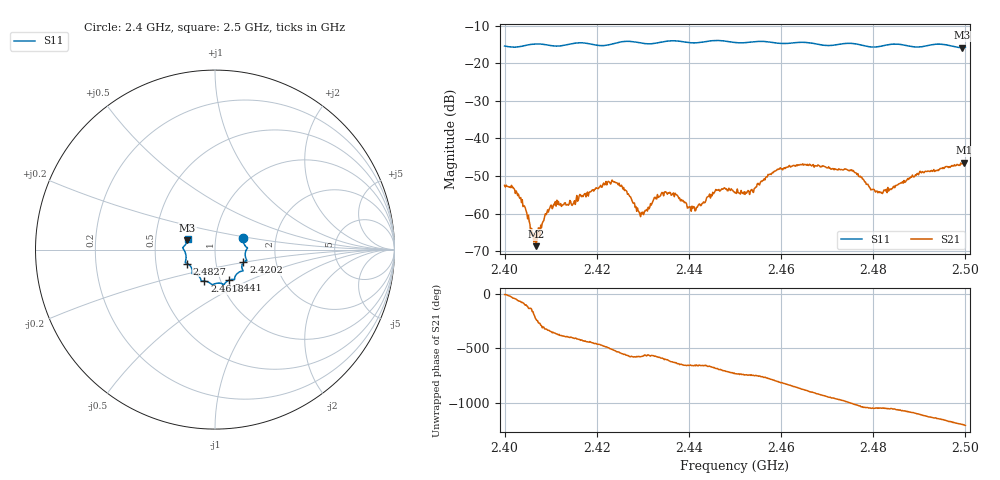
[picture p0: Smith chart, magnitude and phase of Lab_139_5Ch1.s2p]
# Hz S RI R 50
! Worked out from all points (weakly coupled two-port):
!   601 points, 2.4 GHz to 2.5 GHz, reference 50 ohm
!   highest |S21| = -46.44 dB at 2.4997 GHz (marker M1); lowest = -68.7 dB at 2.4068 GHz (marker M2)
!   lowest |S11| = -15.8 dB at 2.4993 GHz (marker M3), VSWR 1.39, Z = 36.5 + j3.84 ohm
!   |S11| at or under -10 dB: start of sweep to end of sweep
!   S12 and S22 are empty: the file has one direction only
!   S11 on the Smith chart (normalised r, x): 2.4 GHz: 1.36, +0.18; 2.4202 GHz: 1.36, -0.20; 2.441 GHz: 1.10, -0.39; 2.4618 GHz: 0.84, -0.30; 2.4827 GHz: 0.72, -0.12; 2.5 GHz: 0.73, +0.09
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2.4e9  0.1581 0.0626  0.00236 -0.000276  0 0  0 0
2.403e9  0.1635 0.0281  0.000821 -0.00162  0 0  0 0
2.406833e9  0.1809 0.00954  -0.00021 0.000302  0 0  0 0
2.4105e9  0.1705 -0.0112  0.0012 0.000178  0 0  0 0
2.416667e9  0.1773 -0.0606  0.000758 -0.0015  0 0  0 0
2.420167e9  0.1582 -0.0712  -0.000468 -0.00211  0 0  0 0
2.424333e9  0.1524 -0.1094  -0.00255 -0.000321  0 0  0 0
2.429667e9  0.1395 -0.1229  -0.00085 0.000593  0 0  0 0
2.433333e9  0.1114 -0.1509  -0.00119 0.00112  0 0  0 0
2.437e9  0.1078 -0.1674  9.26e-05 0.00186  0 0  0 0
2.441e9  0.0786 -0.1697  0.000606 0.00108  0 0  0 0
2.446e9  0.05 -0.1951  0.00169 0.00112  0 0  0 0
2.45e9  0.0283 -0.187  0.00184 -0.000446  0 0  0 0
2.4535e9  -0.00432 -0.192  0.00191 -0.000796  0 0  0 0
2.461833e9  -0.0594 -0.1754  -0.00208 -0.00385  0 0  0 0
2.466667e9  -0.0784 -0.1683  -0.0043 0.000212  0 0  0 0
2.4755e9  -0.1275 -0.1324  0.0011 0.00352  0 0  0 0
2.482667e9  -0.156 -0.0774  0.00176 0.000956  0 0  0 0
2.483333e9  -0.1603 -0.0754  0.00179 0.000872  0 0  0 0
2.499333e9  -0.1536 0.0512  -0.00218 -0.00405  0 0  0 0
2.499667e9  -0.1529 0.056  -0.00248 -0.00407  0 0  0 0
2.5e9  -0.1521 0.0608  -0.00289 -0.00366  0 0  0 0
